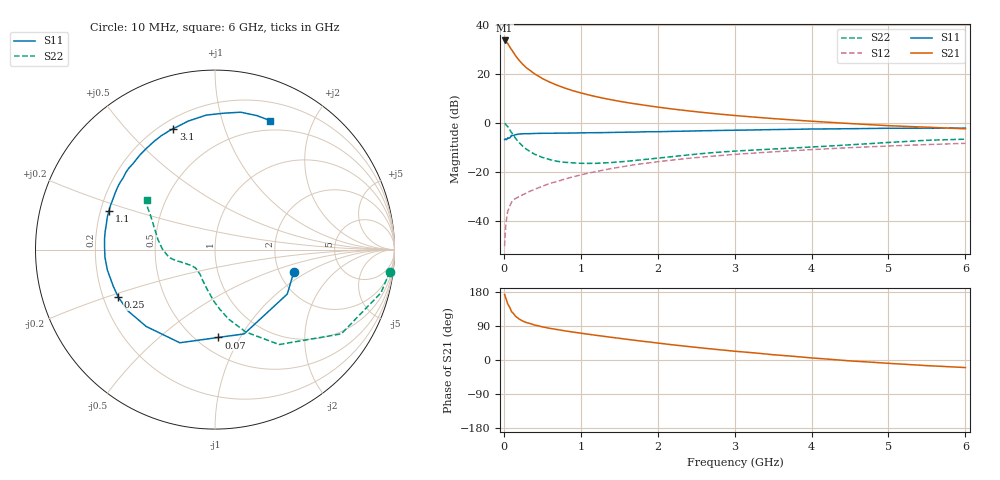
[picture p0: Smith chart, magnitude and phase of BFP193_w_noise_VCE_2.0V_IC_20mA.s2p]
! Infineon Technologies  Discrete & RF Semiconductors
! BFP193
! VCE =  2.0 V,  IC =  20 mA
! Common Emitter S-Parameters:  Jan 2017
# GHz  S  MA  R  50
!  f  S11  S21  S12  S22
! GHz  MAG  ANG  MAG  ANG  MAG  ANG  MAG  ANG
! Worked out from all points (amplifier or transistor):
!   77 points, 10 MHz to 6 GHz, reference 50 ohm
!   highest |S21| = 33.5 dB at 10 MHz (marker M1)
!   |S21| within 3 dB of that: start of sweep to 84.7 MHz
!   unconditionally stable (mu >= 1): 812.6 MHz to 2.63 GHz
!   at 130 MHz: K = 0.39, MSG = 29.9 dB, |S12| = -31.3 dB
!   at 2.2 GHz: K = 1.02, MAG = 9.4 dB, |S12| = -15.1 dB
!   at 6 GHz: K = 0.93, MSG = 3.0 dB, |S12| = -8.3 dB
!   lowest NFmin = 1.05 dB at 450 MHz
!   S11 on the Smith chart (normalised r, x): 10 MHz: 2.39, -0.77; 70 MHz: 0.63, -0.81; 250 MHz: 0.26, -0.22; 1.1 GHz: 0.23, +0.17; 3.1 GHz: 0.25, +0.68; 6 GHz: 0.39, +1.44
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0.01  0.4564 -16.2  47.59 173.0  0.0031 85.5  0.9817 -7.2
0.02  0.4728 -31.6  47.17 166.3  0.0065 87.1  0.9556 -14.6
0.05  0.4969 -70.9  41.32 148.1  0.0156 66.8  0.8459 -33.7
0.07  0.4897 -87.8  36.69 141.4  0.019 60.8  0.7504 -41.1
0.1  0.5549 -110.7  31.03 127.8  0.0244 55.1  0.6388 -55.9
0.15  0.5748 -131.9  23.49 115.8  0.0289 49.0  0.49 -69.5
0.2  0.5937 -145.0  18.64 108.0  0.0317 49.3  0.3958 -78.8
0.25  0.6003 -154.0  15.32 102.3  0.0348 48.8  0.332 -85.6
0.3  0.6025 -160.3  12.96 98.4  0.0379 49.9  0.2864 -91.4
0.4  0.6103 -169.2  9.929 92.2  0.0445 53.3  0.2303 -100.2
0.5  0.6146 -175.9  8.002 87.5  0.0512 55.7  0.1984 -107.6
0.6  0.6156 178.7  6.718 83.5  0.0589 56.6  0.1785 -114.0
0.7  0.6183 174.5  5.774 80.1  0.0647 58.4  0.1646 -119.2
0.9  0.6218 166.7  4.507 73.7  0.0799 59.0  0.1538 -128.0
1.1  0.6293 159.8  3.717 68.0  0.095 58.8  0.1499 -135.3
1.5  0.6438 147.8  2.754 57.3  0.125 56.5  0.1608 -147.0
2.1  0.6665 131.1  2.001 42.4  0.1689 50.7  0.1991 -159.3
2.6  0.6921 119.3  1.624 31.2  0.2032 45.0  0.2396 -166.8
3.1  0.7126 109.0  1.373 21.5  0.2341 39.2  0.2719 -174.6
4.1  0.7521 92.2  1.058 4.0  0.2914 28.1  0.3293 167.9
5.1  0.7786 78.1  0.865 -10.0  0.3432 16.7  0.4081 151.9
6  0.7817 66.8  0.758 -20.0  0.3839 6.8  0.4665 143.8
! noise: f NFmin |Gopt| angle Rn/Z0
0.45  1.05  0.27  180  0.07
0.9  1.13  0.36  -178  0.07
1.9  1.76  0.56  -140  0.15
2.4  2.1  0.62  -124  0.34
